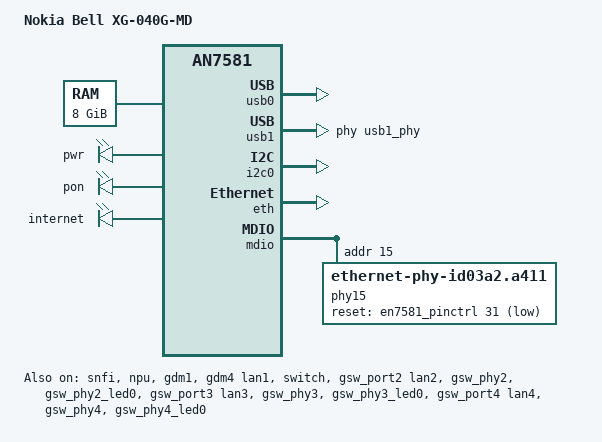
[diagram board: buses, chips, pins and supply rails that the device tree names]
// SPDX-License-Identifier: (GPL-2.0-only OR BSD-2-Clause)
/dts-v1/;

#include <dt-bindings/leds/common.h>
#include <dt-bindings/gpio/gpio.h>
#include <dt-bindings/input/input.h>
#include "an7581-nowifi.dtsi"

/ {
    model = "Nokia Bell XG-040G-MD";
    compatible = "bell,xg-040g-md", "airoha,an7581";

    efuse-banks {
        compatible = "airoha,an7581-efuses";
        #address-cells = <0x01>;
        #size-cells = <0x00>;

        bank@0 {
            reg = <0x00>;
        };

        bank@1 {
            reg = <0x01>;
        };
    };

    aliases {
        serial0 = &uart1;
    };

    chosen {
        bootargs = "console=ttyS0,115200n8 loglevel=7  earlycon";
        stdout-path = "serial0:115200n8";
        bootargs-append = " ubi.mtd=rootfs,2048 rootfstype=squashfs loglevel=8 ubi.block=0,rootfs ro init=/etc/preinit";
    };

    memory@80000000 {
        device_type = "memory";
        reg = <0x0 0x80000000 0x2 0x00000000>;
    };

	leds {
		compatible = "gpio-leds";

		led-0 {
			label = "pwr";
			color = <0x01>;
			function = "power";
			gpios = <0x24 0x11 0x01>;
			default-state = "on";
		};

		led-2 {
			label = "pon";
			color = <0x02>;
			function = "status";
			gpios = <0x24 0x13 0x01>;
			default-state = "off";
		};

		led-3 {
			label = "internet";
			color = <0x02>;
			function = "status";
			gpios = <0x24 0x14 0x01>;
			default-state = "on";
		};
	};
};

&en7581_pinctrl {
    gpio-ranges = <&en7581_pinctrl 0 13 47>;

    mdio_pins: mdio-pins {
        mux {
            function = "mdio";
            groups = "mdio";
        };

        conf {
            pins = "gpio2";
            output-high;
        };
    };

    pcie0_rst_pins: pcie0-rst-pins {
        conf {
            pins = "pcie_reset0";
            drive-open-drain = <1>;
        };
    };

    pcie1_rst_pins: pcie1-rst-pins {
        conf {
            pins = "pcie_reset1";
            drive-open-drain = <1>;
        };
    };

    gswp1_led0_pins: gswp1-led0-pins {
        mux {
            function = "phy1_led0";
            pins = "gpio33";
        };
    };

    gswp2_led0_pins: gswp2-led0-pins {
        mux {
            function = "phy2_led0";
            pins = "gpio34";
        };
    };

    gswp3_led0_pins: gswp3-led0-pins {
        mux {
            function = "phy3_led0";
            pins = "gpio35";
        };
    };

    gswp4_led0_pins: gswp4-led0-pins {
        mux {
            function = "phy4_led0";
            pins = "gpio42";
        };
    };
};

&snfi {
	status = "okay";
};


&spi_nand {
	#address-cells = <1>;
	#size-cells = <1>;
        partitions {
        compatible = "fixed-partitions";
		    #address-cells = <1>;
		    #size-cells = <1>;

            partition@0 {
                label = "bootloader";
                reg = <0x0  0x00080000>;
                read-only;
            };

            partition@80000  {
                label = "env";
                reg = <0x00080000 0x00080000>;
            };

            partition@100000 {
                label = "ubi";
                reg = <0x00100000  0x00>;
		ubi-reserved-pebs = <100>;
		};
     };
};

&usb0 {
	status = "okay";
};

&usb1 {
	status = "okay";
	mediatek,u3p-dis-msk = <0x1>;
	phys = <&usb1_phy PHY_TYPE_USB2>;
};

&i2c0 {
    status = "okay";
};

&npu {
	status = "okay";
};

&eth {
	status = "okay";
};

&gdm1{
	status = "okay";
};

&gdm4{
	status = "okay";
	phy-handle = <&phy15>;
	phy-mode = "2500base-x";
	label = "lan1";
};

&switch {
	status = "okay";
	pinctrl-names = "default";
	pinctrl-0 = <&mdio_pins>;

	mdio {

		phy15: ethernet-phy@f {
			/* EN8811H PHY ID */
			compatible = "ethernet-phy-id03a2.a411";
			reg = <15>;

			interrupt-parent = <&gic>;
			reset-gpios = <&en7581_pinctrl 31 GPIO_ACTIVE_LOW>;
			reset-assert-us = <10000>;
			reset-deassert-us = <2000000>;
			phy-mode = "2500base-x";
		};
	};

};

&gsw_port2{
	status = "okay";
	label = "lan2";
};

&gsw_phy2 {
	pinctrl-names = "gbe-led";
	pinctrl-0 = <&gswp2_led0_pins>;
	status = "okay";
};

&gsw_phy2_led0 {
	status = "okay";
	active-low;
};

&gsw_port3{
	status = "okay";
	label = "lan3";
};

&gsw_phy3 {
	pinctrl-names = "gbe-led";
	pinctrl-0 = <&gswp3_led0_pins>;
	status = "okay";
};

&gsw_phy3_led0 {
	status = "okay";
	active-low;
};

&gsw_port4{
	status = "okay";
	label = "lan4";
};

&gsw_phy4 {
	pinctrl-names = "gbe-led";
	pinctrl-0 = <&gswp4_led0_pins>;
	status = "okay";
};

&gsw_phy4_led0 {
	color = <LED_COLOR_ID_GREEN>;
	function = LED_FUNCTION_WAN;
	default-state = "keep";
	status = "okay";
	active-low;
};
